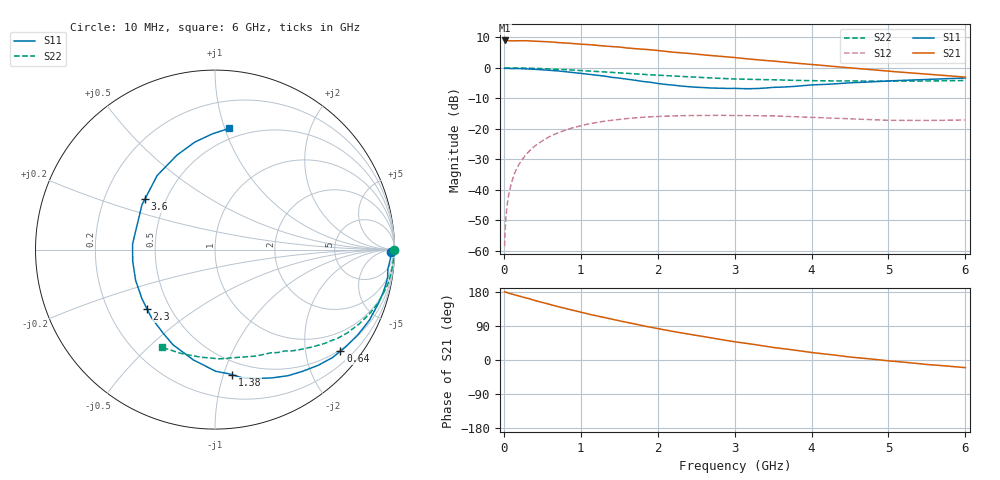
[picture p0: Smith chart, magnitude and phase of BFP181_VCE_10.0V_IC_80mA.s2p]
! Infineon Technologies  Discrete & RF Semiconductors
! BFP181
! VCE = 10.0V,  IC =  80 mA
! Common Emitter S-Parameters:  Jan 2016
# GHz  S  MA  R  50
!  f  S11  S21  S12  S22
! GHz  MAG  ANG  MAG  ANG  MAG  ANG  MAG  ANG
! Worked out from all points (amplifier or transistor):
!   210 points, 10 MHz to 6 GHz, reference 50 ohm
!   highest |S21| = 8.9 dB at 10 MHz (marker M1)
!   |S21| within 3 dB of that: start of sweep to 1.88 GHz
!   unconditionally stable (mu >= 1): 3.512 GHz to end of sweep
!   at 185 MHz: K = 0.07, MSG = 20.5 dB, |S12| = -32.2 dB
!   at 1.52 GHz: K = 0.49, MSG = 11.8 dB, |S12| = -16.9 dB
!   at 6 GHz: K = 1.33, MAG = 3.6 dB, |S12| = -17.1 dB
!   S11 on the Smith chart (normalised r, x): 10 MHz: 69, -38; 640 MHz: 0.47, -2.75; 1.38 GHz: 0.39, -1.07; 2.3 GHz: 0.37, -0.33; 3.6 GHz: 0.38, +0.28; 6 GHz: 0.41, +1.03
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0.01  0.978 -0.7  2.798 179.6  0.0012 80.4  0.9977 -0.2
0.015  0.9775 -0.9  2.791 179.6  0.0019 89.0  0.9958 -0.3
0.025  0.9773 -1.4  2.784 179.1  0.0033 92.7  0.9943 -0.7
0.05  0.9792 -2.8  2.781 177.1  0.0066 92.1  0.9957 -1.5
0.085  0.9719 -5.3  2.762 175.2  0.0111 86.6  0.9956 -2.5
0.15  0.9742 -9.2  2.759 171.5  0.0201 82.7  0.9946 -4.4
0.34  0.9516 -20.9  2.748 161.0  0.0444 75.5  0.984 -10.1
0.5  0.9275 -30.6  2.683 151.5  0.0636 69.0  0.9692 -14.6
0.64  0.899 -39.0  2.628 144.3  0.0793 63.3  0.9531 -18.6
0.8  0.8636 -48.3  2.551 136.0  0.0951 57.1  0.9315 -22.6
1.02  0.8049 -61.2  2.424 125.2  0.1137 49.5  0.8989 -27.9
1.1  0.7819 -66.1  2.404 121.2  0.1202 46.7  0.8863 -29.7
1.38  0.7036 -82.2  2.23 108.8  0.1371 37.9  0.843 -35.9
1.5  0.6774 -89.8  2.188 103.3  0.1427 34.6  0.8229 -38.0
2.02  0.5492 -121.5  1.906 82.1  0.1598 22.5  0.7532 -46.6
2.3  0.5022 -139.0  1.756 71.8  0.164 16.5  0.7197 -51.2
2.8  0.4632 -171.9  1.548 54.6  0.1664 8.0  0.6728 -58.5
3.1  0.455 170.5  1.425 45.4  0.1645 3.9  0.6498 -62.9
3.6  0.4813 144.1  1.252 30.7  0.1612 -1.7  0.6304 -70.6
4.1  0.5289 124.6  1.104 17.6  0.1526 -5.6  0.6119 -79.6
5.1  0.6153 98.7  0.859 -3.9  0.1378 -7.6  0.6039 -99.7
6  0.6792 83.5  0.703 -20.2  0.1396 -4.0  0.62 -118.7
